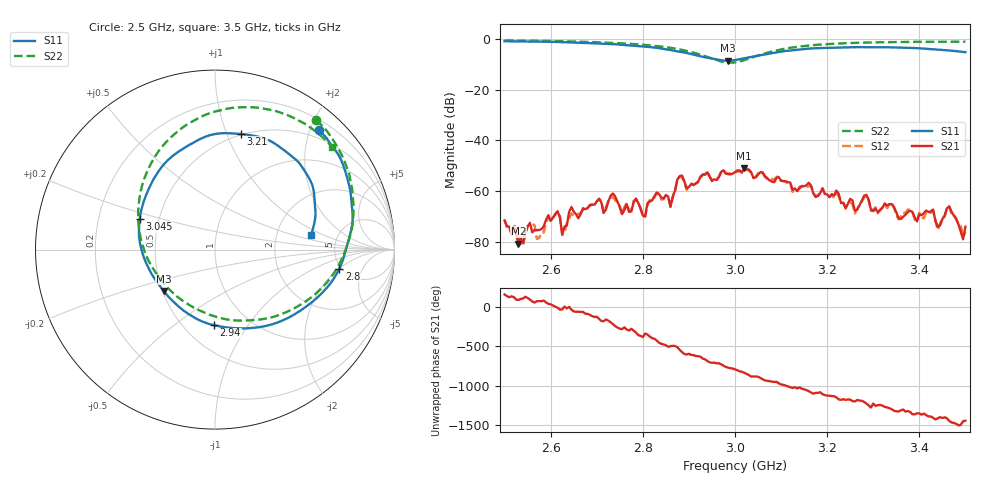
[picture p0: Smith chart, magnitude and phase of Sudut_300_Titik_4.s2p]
# Hz S RI R 50
! CMT, C1220, 16058040, 17.2.0/1
! Date: 15/08/2018 10:36:05
! Data: Format (Calibration Info)
! Freq  S11: Re/Im (F2)  S21: Re/Im (F2)  S12: Re/Im (F2)  S22: Re/Im (F2)
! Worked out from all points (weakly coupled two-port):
!   201 points, 2.5 GHz to 3.5 GHz, reference 50 ohm
!   highest |S21| = -50.96 dB at 3.02 GHz (marker M1); lowest = -80.4 dB at 2.53 GHz (marker M2)
!   lowest |S11| = -8.7 dB at 2.985 GHz (marker M3), VSWR 2.16, Z = 25.3 - j13.5 ohm
!   |S11| at or under -10 dB: nowhere
!   |S22| runs from -9.5 to -0.7 dB; largest |S21 - S12| = 0.00024
!   S11 on the Smith chart (normalised r, x): 2.5 GHz: 0.35, +2.15; 2.8 GHz: 4.81, -2.01; 2.94 GHz: 0.69, -0.71; 3.045 GHz: 0.39, +0.17; 3.21 GHz: 0.49, +1.12; 3.5 GHz: 3.17, +0.71
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2.5e9  0.58 0.6677  -0.000246 9.81e-05  -0.000247 0.000144  0.5645 0.7233
2.53e9  0.6212 0.6212  -1.28e-07 9.52e-05  7.21e-06 0.000124  0.5984 0.6883
2.615e9  0.7118 0.4768  0.000405 -6.92e-05  0.000398 -1.61e-05  0.6887 0.5604
2.625e9  0.7213 0.4499  0.000122 -7.43e-05  6.49e-05 -0.000126  0.6981 0.5425
2.67e9  0.7517 0.3392  0.000232 -0.000409  0.000164 -0.000405  0.7372 0.4514
2.735e9  0.7649 0.1464  -0.000737 0.000542  -0.000627 0.000464  0.7678 0.2884
2.8e9  0.6927 -0.1062  0.000313 -0.000119  0.000276 -0.000174  0.7526 0.0758
2.835e9  0.6058 -0.2316  -3.44e-05 -0.000891  -3.75e-05 -0.00085  0.7028 -0.0602
2.86e9  0.4963 -0.3259  -0.000359 -0.000347  -0.000328 -0.000383  0.6382 -0.1646
2.88e9  0.3958 -0.386  -0.00201 0.000114  -0.00191 0.00012  0.5609 -0.2463
2.94e9  -0.0046 -0.4214  0.00194 0.00137  0.00201 0.00145  0.1814 -0.3948
2.985e9  -0.2864 -0.2299  0.00143 -0.00164  0.00158 -0.00164  -0.1759 -0.2877
3e9  -0.3538 -0.1348  0.000807 -0.00227  0.000698 -0.00227  -0.2747 -0.2008
3.02e9  -0.4104 0.00176  -0.00113 -0.00259  -0.00101 -0.00262  -0.3721 -0.0583
3.045e9  -0.4202 0.1705  -0.00179 -0.00062  -0.00183 -0.00066  -0.4266 0.1414
3.17e9  -0.00692 0.6426  0.000867 -0.000293  0.000915 -0.000226  -0.0794 0.7394
3.21e9  0.1439 0.6439  0.000579 -0.000672  0.000454 -0.000742  0.0655 0.7845
3.335e9  0.4678 0.4841  -0.000519 0.00022  -0.000509 0.000228  0.4021 0.7497
3.43e9  0.5555 0.2561  0.000364 0.000253  0.000354 0.000207  0.5646 0.6554
3.44e9  0.5579 0.2311  0.000178 9.85e-05  0.000145 9.68e-05  0.5791 0.6427
3.465e9  0.5575 0.1713  0.000503 -4.53e-05  0.000507 -7.84e-05  0.611 0.6159
3.5e9  0.5343 0.0792  0.000203 -4.33e-06  0.000154 4.91e-05  0.6511 0.5743
